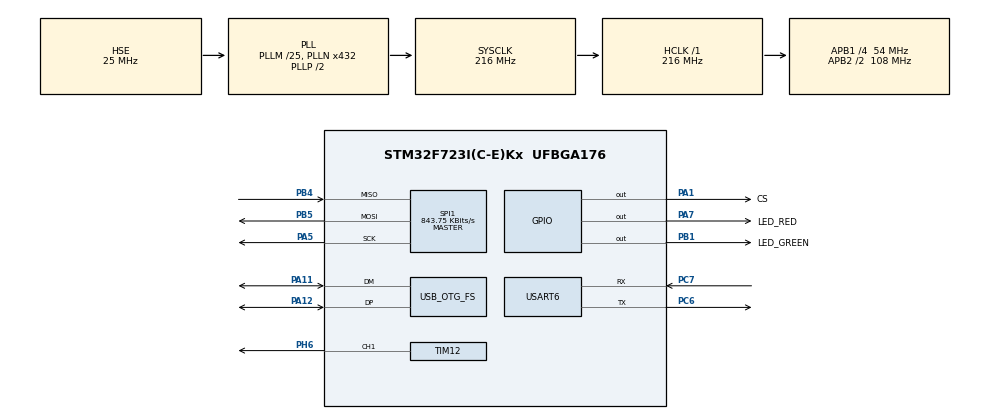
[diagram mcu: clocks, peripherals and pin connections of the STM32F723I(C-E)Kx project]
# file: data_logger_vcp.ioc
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Mcu.Family=STM32F7
USB_DEVICE.CLASS_NAME_FS=CDC
USB_DEVICE.USBD_LPM_ENABLED-CDC_FS=0
TIM12.OC1Preload=ENABLE
PH0-OSC_IN.Signal=RCC_OSC_IN
RCC.CortexFreq_Value=216000000
SPI1.VirtualType=VM_MASTER
PA11.Mode=Device_Only
USB_DEVICE.VirtualMode-CDC_FS=Cdc
RCC.I2SCLockSelection=RCC_I2SCLKSOURCE_PLLI2S
RCC.SYSCLKSource=RCC_SYSCLKSOURCE_PLLCLK
ProjectManager.StackSize=0x800
TIM12.AutoReloadPreload=TIM_AUTORELOAD_PRELOAD_ENABLE
PA12.Signal=USB_OTG_FS_DP
TIM12.OCMode_1=TIM_OCMODE_TOGGLE
SPI1.Direction=SPI_DIRECTION_2LINES
RCC.HCLKFreq_Value=216000000
RCC.APB2TimFreq_Value=216000000
PC7.Signal=USART6_RX
SPI1.CalculateBaudRate=843.75 KBits/s
TIM12.Channel-Output\ Compare1\ CH1=TIM_CHANNEL_1
USART6.VirtualMode-Asynchronous=VM_ASYNC
RCC.AHBFreq_Value=216000000
PH0-OSC_IN.Mode=HSE-External-Oscillator
RCC.HSE_VALUE=25000000
TIM12.Period=3
PB4.Mode=Full_Duplex_Master
SH.S_TIM12_CH1.0=TIM12_CH1,Output Compare1 CH1
PA14.Mode=Serial_Wire
PB1.GPIO_Label=LED_GREEN
PB5.Mode=Full_Duplex_Master
SPI1.DataSize=SPI_DATASIZE_8BIT
VP_TIM12_VS_ClockSourceINT.Mode=Internal
TIM12.Pulse-Output\ Compare1\ CH1=1
PH1-OSC_OUT.Mode=HSE-External-Oscillator
Mcu.Package=UFBGA176
PB1.Signal=GPIO_Output
NVIC.OTG_FS_IRQn=true\:0\:0\:false\:false\:true\:false\:true
USB_OTG_FS.VirtualMode=Device_Only
RCC.APB2CLKDivider=RCC_HCLK_DIV2
RCC.APB1TimFreq_Value=108000000
SPI1.BaudRatePrescaler=SPI_BAUDRATEPRESCALER_128
PB4.Signal=SPI1_MISO
PA5.Mode=Full_Duplex_Master
USB_DEVICE.VirtualModeFS=Cdc_FS
RCC.UART8CLockSelection=RCC_UART8CLKSOURCE_PCLK1
PC6.Signal=USART6_TX
RCC.APB1CLKDivider=RCC_HCLK_DIV4
NVIC.USART6_IRQn=true\:0\:0\:false\:false\:true\:true\:true
PA13.Signal=SYS_JTMS-SWDIO
ProjectManager.TargetToolchain=STM32CubeIDE
PC6.Mode=Asynchronous
VP_USB_DEVICE_VS_USB_DEVICE_CDC_FS.Mode=CDC_FS
RCC.USBFreq_Value=48000000
RCC.LSE_VALUE=32768
PA1.Signal=GPIO_Output
PA5.Signal=SPI1_SCK
board=custom
RCC.VCOOutputFreq_Value=432000000
RCC.APB2Freq_Value=108000000
SPI1.Mode=SPI_MODE_MASTER
PA1.GPIO_Label=CS
PH1-OSC_OUT.Signal=RCC_OSC_OUT
PA13.Mode=Serial_Wire
Mcu.Name=STM32F723I(C-E)Kx
RCC.SYSCLKFreq_VALUE=216000000
PB5.Signal=SPI1_MOSI
PA7.GPIO_Label=LED_RED
PA12.Mode=Device_Only
PA11.Signal=USB_OTG_FS_DM
PA14.Signal=SYS_JTCK-SWCLK
ProjectManager.HeapSize=0x800
PH6.Signal=S_TIM12_CH1
RCC.HSI_VALUE=16000000
RCC.PLLQ=9
NVIC.PriorityGroup=NVIC_PRIORITYGROUP_4
RCC.PLLM=25
RCC.PLLN=432
PC7.Mode=Asynchronous
RCC.APB1Freq_Value=54000000
PA7.Signal=GPIO_Output

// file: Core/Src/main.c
/* USER CODE BEGIN Header */
/**
  ******************************************************************************
  * @file           : main.c
  * @brief          : Main program body
  ******************************************************************************
  * @attention
  *
  * <h2><center>&copy; Copyright (c) 2021 STMicroelectronics.
  * All rights reserved.</center></h2>
  *
  * This software component is licensed by ST under BSD 3-Clause license,
  * the "License"; You may not use this file except in compliance with the
  * License. You may obtain a copy of the License at:
  *                        opensource.org/licenses/BSD-3-Clause
  *
  ******************************************************************************
  */
/* USER CODE END Header */
#include "main.h"
#include "usb_device.h"

/* USER CODE BEGIN Includes */
#include "input.h"
/* USER CODE END Includes */

SPI_HandleTypeDef hspi1;

TIM_HandleTypeDef htim12;

UART_HandleTypeDef huart6;

void SystemClock_Config(void);
static void MX_GPIO_Init(void);
static void MX_USART6_UART_Init(void);
static void MX_SPI1_Init(void);
static void MX_TIM12_Init(void);

/* USER CODE BEGIN 0 */

int __io_putchar(int ch)
{
	char v;
	v = (uint8_t )ch;
	return HAL_UART_Transmit(&huart6, (uint8_t *)&v, 1 ,1000);
}

int __io_getchar(void)
{
  uint8_t ch = 0;
  // Clear the Overrun flag just before receiving the first character
  __HAL_UART_CLEAR_FLAG(&huart6, UART_CLEAR_OREF);

  HAL_UART_Receive(&huart6, (uint8_t *)&ch, 1, 0xFFFF);
  HAL_UART_Transmit(&huart6, (uint8_t *)&ch, 1, 0xFFFF);
  return ch;
}

typedef enum DeviceState{
  WaitInput,
  ProcessCommand,
  WriteNumbers,
  SymbolReceive
}DeviceState;

DeviceState state;

void HAL_UART_ErrorCallback(UART_HandleTypeDef *huart)
{
  if(huart->Instance == USART6)
  {
      printf("ERROR uart callback\r\n");
      /*
    uint32_t er = HAL_UART_GetError(huart);

    switch(er)
    {
      case HAL_UART_ERROR_PE:
	printf("[ERR] ERR_Callbck - Parity error\r\n");
	__HAL_UART_CLEAR_PEFLAG(huart);
	huart->ErrorCode = HAL_UART_ERROR_NONE;
	break;

      case HAL_UART_ERROR_NE:
	printf("[ERR] ERR_Callbck - Noise error\r\n");
	__HAL_UART_CLEAR_NEFLAG(huart);
	huart->ErrorCode = HAL_UART_ERROR_NONE;
	break;

      case HAL_UART_ERROR_FE:
	printf("[ERR] ERR_Callbck - Frame error\r\n");
	__HAL_UART_CLEAR_FEFLAG(huart);
	huart->ErrorCode = HAL_UART_ERROR_NONE;
	break;

      case HAL_UART_ERROR_ORE:
	printf("[ERR] ERR_Callbck - Overrun error\r\n");
	__HAL_UART_CLEAR_OREFLAG(huart);
	huart->ErrorCode = HAL_UART_ERROR_NONE;
	break;

      case HAL_UART_ERROR_DMA:
	printf("[ERR] ERR_Callbck - DMA transfer error\r\n");
	huart->ErrorCode = HAL_UART_ERROR_NONE;
	break;

      default:
	break;
    }
    */
  }
}

/* USER CODE END 0 */

int main(void)
{

  /* MCU Configuration--------------------------------------------------------*/

  /* Reset of all peripherals, Initializes the Flash interface and the Systick. */
  HAL_Init();

  /* Configure the system clock */
  SystemClock_Config();

  /* Initialize all configured peripherals */
  MX_GPIO_Init();
  MX_USART6_UART_Init();
  MX_USB_DEVICE_Init();
  MX_SPI1_Init();
  MX_TIM12_Init();
  /* USER CODE BEGIN 2 */
  HAL_GPIO_WritePin(CS_GPIO_Port, CS_Pin, GPIO_PIN_SET);
  printf("Start firmware\n");

  setvbuf( stdin, NULL, _IONBF, 0 );
  init_input(&huart6);

  state = WaitInput;
  HAL_TIM_OC_Start(&htim12, TIM_CHANNEL_1);
  /* USER CODE END 2 */

  /* Infinite loop */
  while (1)
  {

  }
}

void SystemClock_Config(void)
{
  RCC_OscInitTypeDef RCC_OscInitStruct = {0};
  RCC_ClkInitTypeDef RCC_ClkInitStruct = {0};
  RCC_PeriphCLKInitTypeDef PeriphClkInitStruct = {0};

  /** Configure the main internal regulator output voltage
  */
  __HAL_RCC_PWR_CLK_ENABLE();
  __HAL_PWR_VOLTAGESCALING_CONFIG(PWR_REGULATOR_VOLTAGE_SCALE1);
  /** Initializes the RCC Oscillators according to the specified parameters
  * in the RCC_OscInitTypeDef structure.
  */
  RCC_OscInitStruct.OscillatorType = RCC_OSCILLATORTYPE_HSE;
  RCC_OscInitStruct.HSEState = RCC_HSE_ON;
  RCC_OscInitStruct.PLL.PLLState = RCC_PLL_ON;
  RCC_OscInitStruct.PLL.PLLSource = RCC_PLLSOURCE_HSE;
  RCC_OscInitStruct.PLL.PLLM = 25;
  RCC_OscInitStruct.PLL.PLLN = 432;
  RCC_OscInitStruct.PLL.PLLP = RCC_PLLP_DIV2;
  RCC_OscInitStruct.PLL.PLLQ = 9;
  if (HAL_RCC_OscConfig(&RCC_OscInitStruct) != HAL_OK)
  {
    Error_Handler();
  }
  /** Activate the Over-Drive mode
  */
  if (HAL_PWREx_EnableOverDrive() != HAL_OK)
  {
    Error_Handler();
  }
  /** Initializes the CPU, AHB and APB buses clocks
  */
  RCC_ClkInitStruct.ClockType = RCC_CLOCKTYPE_HCLK|RCC_CLOCKTYPE_SYSCLK
                              |RCC_CLOCKTYPE_PCLK1|RCC_CLOCKTYPE_PCLK2;
  RCC_ClkInitStruct.SYSCLKSource = RCC_SYSCLKSOURCE_PLLCLK;
  RCC_ClkInitStruct.AHBCLKDivider = RCC_SYSCLK_DIV1;
  RCC_ClkInitStruct.APB1CLKDivider = RCC_HCLK_DIV4;
  RCC_ClkInitStruct.APB2CLKDivider = RCC_HCLK_DIV2;

  if (HAL_RCC_ClockConfig(&RCC_ClkInitStruct, FLASH_LATENCY_7) != HAL_OK)
  {
    Error_Handler();
  }
  PeriphClkInitStruct.PeriphClockSelection = RCC_PERIPHCLK_USART6|RCC_PERIPHCLK_CLK48;
  PeriphClkInitStruct.Usart6ClockSelection = RCC_USART6CLKSOURCE_PCLK2;
  PeriphClkInitStruct.Clk48ClockSelection = RCC_CLK48SOURCE_PLL;
  if (HAL_RCCEx_PeriphCLKConfig(&PeriphClkInitStruct) != HAL_OK)
  {
    Error_Handler();
  }
}

static void MX_SPI1_Init(void)
{

  /* SPI1 parameter configuration*/
  hspi1.Instance = SPI1;
  hspi1.Init.Mode = SPI_MODE_MASTER;
  hspi1.Init.Direction = SPI_DIRECTION_2LINES;
  hspi1.Init.DataSize = SPI_DATASIZE_8BIT;
  hspi1.Init.CLKPolarity = SPI_POLARITY_LOW;
  hspi1.Init.CLKPhase = SPI_PHASE_1EDGE;
  hspi1.Init.NSS = SPI_NSS_SOFT;
  hspi1.Init.BaudRatePrescaler = SPI_BAUDRATEPRESCALER_128;
  hspi1.Init.FirstBit = SPI_FIRSTBIT_MSB;
  hspi1.Init.TIMode = SPI_TIMODE_DISABLE;
  hspi1.Init.CRCCalculation = SPI_CRCCALCULATION_DISABLE;
  hspi1.Init.CRCPolynomial = 7;
  hspi1.Init.CRCLength = SPI_CRC_LENGTH_DATASIZE;
  hspi1.Init.NSSPMode = SPI_NSS_PULSE_ENABLE;
  if (HAL_SPI_Init(&hspi1) != HAL_OK)
  {
    Error_Handler();
  }

}

static void MX_TIM12_Init(void)
{

  TIM_ClockConfigTypeDef sClockSourceConfig = {0};
  TIM_OC_InitTypeDef sConfigOC = {0};

  htim12.Instance = TIM12;
  htim12.Init.Prescaler = 100;
  htim12.Init.CounterMode = TIM_COUNTERMODE_UP;
  htim12.Init.Period = 99;
  htim12.Init.ClockDivision = TIM_CLOCKDIVISION_DIV1;
  htim12.Init.AutoReloadPreload = TIM_AUTORELOAD_PRELOAD_ENABLE;
  if (HAL_TIM_Base_Init(&htim12) != HAL_OK)
  {
    Error_Handler();
  }
  sClockSourceConfig.ClockSource = TIM_CLOCKSOURCE_INTERNAL;
  if (HAL_TIM_ConfigClockSource(&htim12, &sClockSourceConfig) != HAL_OK)
  {
    Error_Handler();
  }
  if (HAL_TIM_OC_Init(&htim12) != HAL_OK)
  {
    Error_Handler();
  }
  sConfigOC.OCMode = TIM_OCMODE_TOGGLE;
  sConfigOC.Pulse = 49;
  sConfigOC.OCPolarity = TIM_OCPOLARITY_HIGH;
  sConfigOC.OCFastMode = TIM_OCFAST_DISABLE;
  if (HAL_TIM_OC_ConfigChannel(&htim12, &sConfigOC, TIM_CHANNEL_1) != HAL_OK)
  {
    Error_Handler();
  }
  __HAL_TIM_ENABLE_OCxPRELOAD(&htim12, TIM_CHANNEL_1);
  HAL_TIM_MspPostInit(&htim12);

}

static void MX_USART6_UART_Init(void)
{

  huart6.Instance = USART6;
  huart6.Init.BaudRate = 115200;
  huart6.Init.WordLength = UART_WORDLENGTH_8B;
  huart6.Init.StopBits = UART_STOPBITS_1;
  huart6.Init.Parity = UART_PARITY_NONE;
  huart6.Init.Mode = UART_MODE_TX_RX;
  huart6.Init.HwFlowCtl = UART_HWCONTROL_NONE;
  huart6.Init.OverSampling = UART_OVERSAMPLING_16;
  huart6.Init.OneBitSampling = UART_ONE_BIT_SAMPLE_DISABLE;
  huart6.AdvancedInit.AdvFeatureInit = UART_ADVFEATURE_NO_INIT;
  if (HAL_UART_Init(&huart6) != HAL_OK)
  {
    Error_Handler();
  }

}

static void MX_GPIO_Init(void)
{
  GPIO_InitTypeDef GPIO_InitStruct = {0};

  /* GPIO Ports Clock Enable */
  __HAL_RCC_GPIOE_CLK_ENABLE();
  __HAL_RCC_GPIOB_CLK_ENABLE();
  __HAL_RCC_GPIOG_CLK_ENABLE();
  __HAL_RCC_GPIOD_CLK_ENABLE();
  __HAL_RCC_GPIOC_CLK_ENABLE();
  __HAL_RCC_GPIOA_CLK_ENABLE();
  __HAL_RCC_GPIOI_CLK_ENABLE();
  __HAL_RCC_GPIOH_CLK_ENABLE();
  __HAL_RCC_GPIOF_CLK_ENABLE();

  /*Configure GPIO pin Output Level */
  HAL_GPIO_WritePin(GPIOA, CS_Pin|LED_RED_Pin, GPIO_PIN_RESET);

  /*Configure GPIO pin Output Level */
  HAL_GPIO_WritePin(LED_GREEN_GPIO_Port, LED_GREEN_Pin, GPIO_PIN_RESET);

  /*Configure GPIO pins : PE3 PE2 PE1 PE0
                           PE4 PE5 PE6 PE13
                           PE8 PE9 PE11 PE14
                           PE7 PE10 PE12 PE15 */
  GPIO_InitStruct.Pin = GPIO_PIN_3|GPIO_PIN_2|GPIO_PIN_1|GPIO_PIN_0
                          |GPIO_PIN_4|GPIO_PIN_5|GPIO_PIN_6|GPIO_PIN_13
                          |GPIO_PIN_8|GPIO_PIN_9|GPIO_PIN_11|GPIO_PIN_14
                          |GPIO_PIN_7|GPIO_PIN_10|GPIO_PIN_12|GPIO_PIN_15;
  GPIO_InitStruct.Mode = GPIO_MODE_ANALOG;
  GPIO_InitStruct.Pull = GPIO_NOPULL;
  HAL_GPIO_Init(GPIOE, &GPIO_InitStruct);

  /*Configure GPIO pins : PB8 PB3 PB9 PB7
                           PB6 PB2 PB12 PB13
                           PB0 PB10 PB11 PB14
                           PB15 */
  GPIO_InitStruct.Pin = GPIO_PIN_8|GPIO_PIN_3|GPIO_PIN_9|GPIO_PIN_7
                          |GPIO_PIN_6|GPIO_PIN_2|GPIO_PIN_12|GPIO_PIN_13
                          |GPIO_PIN_0|GPIO_PIN_10|GPIO_PIN_11|GPIO_PIN_14
                          |GPIO_PIN_15;
  GPIO_InitStruct.Mode = GPIO_MODE_ANALOG;
  GPIO_InitStruct.Pull = GPIO_NOPULL;
  HAL_GPIO_Init(GPIOB, &GPIO_InitStruct);

  /*Configure GPIO pins : PG14 PG13 PG15 PG12
                           PG11 PG10 PG9 PG8
                           PG5 PG4 PG3 PG2
                           PG1 PG0 */
  GPIO_InitStruct.Pin = GPIO_PIN_14|GPIO_PIN_13|GPIO_PIN_15|GPIO_PIN_12
                          |GPIO_PIN_11|GPIO_PIN_10|GPIO_PIN_9|GPIO_PIN_8
                          |GPIO_PIN_5|GPIO_PIN_4|GPIO_PIN_3|GPIO_PIN_2
                          |GPIO_PIN_1|GPIO_PIN_0;
  GPIO_InitStruct.Mode = GPIO_MODE_ANALOG;
  GPIO_InitStruct.Pull = GPIO_NOPULL;
  HAL_GPIO_Init(GPIOG, &GPIO_InitStruct);

  /*Configure GPIO pins : PD7 PD6 PD0 PD5
                           PD1 PD4 PD3 PD2
                           PD15 PD14 PD13 PD12
                           PD11 PD10 PD9 PD8 */
  GPIO_InitStruct.Pin = GPIO_PIN_7|GPIO_PIN_6|GPIO_PIN_0|GPIO_PIN_5
                          |GPIO_PIN_1|GPIO_PIN_4|GPIO_PIN_3|GPIO_PIN_2
                          |GPIO_PIN_15|GPIO_PIN_14|GPIO_PIN_13|GPIO_PIN_12
                          |GPIO_PIN_11|GPIO_PIN_10|GPIO_PIN_9|GPIO_PIN_8;
  GPIO_InitStruct.Mode = GPIO_MODE_ANALOG;
  GPIO_InitStruct.Pull = GPIO_NOPULL;
  HAL_GPIO_Init(GPIOD, &GPIO_InitStruct);

  /*Configure GPIO pins : PC12 PC11 PC10 PC13
                           PC14 PC15 PC9 PC8
                           PC0 PC1 PC2 PC3
                           PC4 PC5 */
  GPIO_InitStruct.Pin = GPIO_PIN_12|GPIO_PIN_11|GPIO_PIN_10|GPIO_PIN_13
                          |GPIO_PIN_14|GPIO_PIN_15|GPIO_PIN_9|GPIO_PIN_8
                          |GPIO_PIN_0|GPIO_PIN_1|GPIO_PIN_2|GPIO_PIN_3
                          |GPIO_PIN_4|GPIO_PIN_5;
  GPIO_InitStruct.Mode = GPIO_MODE_ANALOG;
  GPIO_InitStruct.Pull = GPIO_NOPULL;
  HAL_GPIO_Init(GPIOC, &GPIO_InitStruct);

  /*Configure GPIO pins : PA15 PA10 PA9 PA8
                           PA0 PA4 PA2 PA6
                           PA3 */
  GPIO_InitStruct.Pin = GPIO_PIN_15|GPIO_PIN_10|GPIO_PIN_9|GPIO_PIN_8
                          |GPIO_PIN_0|GPIO_PIN_4|GPIO_PIN_2|GPIO_PIN_6
                          |GPIO_PIN_3;
  GPIO_InitStruct.Mode = GPIO_MODE_ANALOG;
  GPIO_InitStruct.Pull = GPIO_NOPULL;
  HAL_GPIO_Init(GPIOA, &GPIO_InitStruct);

  /*Configure GPIO pins : PI7 PI6 PI5 PI3
                           PI2 PI8 PI9 PI4
                           PI1 PI10 PI11 PI0 */
  GPIO_InitStruct.Pin = GPIO_PIN_7|GPIO_PIN_6|GPIO_PIN_5|GPIO_PIN_3
                          |GPIO_PIN_2|GPIO_PIN_8|GPIO_PIN_9|GPIO_PIN_4
                          |GPIO_PIN_1|GPIO_PIN_10|GPIO_PIN_11|GPIO_PIN_0;
  GPIO_InitStruct.Mode = GPIO_MODE_ANALOG;
  GPIO_InitStruct.Pull = GPIO_NOPULL;
  HAL_GPIO_Init(GPIOI, &GPIO_InitStruct);

  /*Configure GPIO pins : PH15 PH13 PH14 PH2
                           PH3 PH4 PH5 PH12
                           PH11 PH10 PH8 PH9
                           PH7 */
  GPIO_InitStruct.Pin = GPIO_PIN_15|GPIO_PIN_13|GPIO_PIN_14|GPIO_PIN_2
                          |GPIO_PIN_3|GPIO_PIN_4|GPIO_PIN_5|GPIO_PIN_12
                          |GPIO_PIN_11|GPIO_PIN_10|GPIO_PIN_8|GPIO_PIN_9
                          |GPIO_PIN_7;
  GPIO_InitStruct.Mode = GPIO_MODE_ANALOG;
  GPIO_InitStruct.Pull = GPIO_NOPULL;
  HAL_GPIO_Init(GPIOH, &GPIO_InitStruct);

  /*Configure GPIO pins : PF0 PF2 PF1 PF3
                           PF4 PF7 PF6 PF5
                           PF10 PF9 PF8 PF13
                           PF12 PF15 PF11 PF14 */
  GPIO_InitStruct.Pin = GPIO_PIN_0|GPIO_PIN_2|GPIO_PIN_1|GPIO_PIN_3
                          |GPIO_PIN_4|GPIO_PIN_7|GPIO_PIN_6|GPIO_PIN_5
                          |GPIO_PIN_10|GPIO_PIN_9|GPIO_PIN_8|GPIO_PIN_13
                          |GPIO_PIN_12|GPIO_PIN_15|GPIO_PIN_11|GPIO_PIN_14;
  GPIO_InitStruct.Mode = GPIO_MODE_ANALOG;
  GPIO_InitStruct.Pull = GPIO_NOPULL;
  HAL_GPIO_Init(GPIOF, &GPIO_InitStruct);

  /*Configure GPIO pins : CS_Pin LED_RED_Pin */
  GPIO_InitStruct.Pin = CS_Pin|LED_RED_Pin;
  GPIO_InitStruct.Mode = GPIO_MODE_OUTPUT_PP;
  GPIO_InitStruct.Pull = GPIO_NOPULL;
  GPIO_InitStruct.Speed = GPIO_SPEED_FREQ_LOW;
  HAL_GPIO_Init(GPIOA, &GPIO_InitStruct);

  /*Configure GPIO pin : LED_GREEN_Pin */
  GPIO_InitStruct.Pin = LED_GREEN_Pin;
  GPIO_InitStruct.Mode = GPIO_MODE_OUTPUT_PP;
  GPIO_InitStruct.Pull = GPIO_NOPULL;
  GPIO_InitStruct.Speed = GPIO_SPEED_FREQ_LOW;
  HAL_GPIO_Init(LED_GREEN_GPIO_Port, &GPIO_InitStruct);

}

void Error_Handler(void)
{
  __disable_irq();
  while (1)
  {
  }
}

/************************ (C) COPYRIGHT STMicroelectronics *****END OF FILE****/
